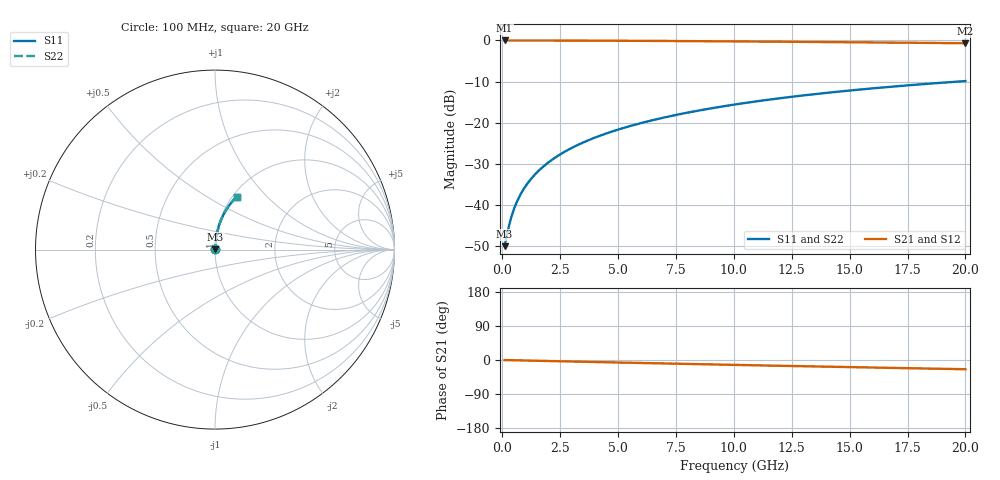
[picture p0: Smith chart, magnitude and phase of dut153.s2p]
! Touchstone file exported from HFSS 2024.1.0
!  File:  C:/UserFiles/LocalFiles/RDL_TSV_Batchsim/temp_RDL_bottom_153_1778697433.aedt
!  Generated:  02:40:05 AM May 14, 2026
!  Design:  RDL_bottom
!  Project:  temp_RDL_bottom_153_1778697433
!  Setup:  Setup1
!  Solution:  Sweep
! Variables:
!  dtsv = 10.80580581um
!  hbump = 3um
!  htsv = 83.15um
!  ldown = 240.71um
!  lrdl = 100um
!  p = 40
!  p1 = 59.46um
!  rhole = 1um
!  t = 450um
!  tdown = 2.56um
!  trdl = 3.915915916um
!  wdown = 13.66um
!  wrdl = 20um
# GHz S MA R 50.000000
! Terminal data exported
! Port[1] = RDL1_T1
! Port[2] = RDL1_T2
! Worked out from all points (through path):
!   200 points, 100 MHz to 20 GHz, reference 50 ohm
!   highest |S21| = -0.02 dB at 100 MHz (marker M1); lowest = -0.7 dB at 20 GHz (marker M2)
!   group delay of S21, straight-line fit = 3.38 ps
!   lowest |S11| = -50.0 dB at 100 MHz (marker M3), VSWR 1.01, Z = 50.3 + j0.17 ohm
!   |S11| at or under -10 dB: start of sweep to 19.72 GHz
!   |S22| runs from -50.0 to -9.9 dB; largest |S21 - S12| = 2.6e-15
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0.1  0.003156 32.4  0.9973 -0.1  0.9973 -0.1  0.003156 32.4
! Gamma 0 0 0 0
! Port Impedance 50 0 50 0
0.2  0.004323 51.4  0.9973 -0.3  0.9973 -0.3  0.004323 51.4
0.3  0.005751 61.5  0.9972 -0.4  0.9972 -0.4  0.005751 61.5
0.4  0.007277 67.3  0.9972 -0.6  0.9972 -0.6  0.007277 67.3
0.5  0.008842 71.1  0.9971 -0.7  0.9971 -0.7  0.008842 71.1
0.6  0.01043 73.6  0.997 -0.8  0.997 -0.8  0.01043 73.6
0.8  0.01361 76.9  0.9969 -1.1  0.9969 -1.1  0.01361 76.9
1.1  0.01843 79.7  0.9966 -1.5  0.9966 -1.5  0.01843 79.7
1.5  0.02488 81.7  0.9962 -2.0  0.9962 -2.0  0.02488 81.7
1.8  0.02974 82.5  0.9959 -2.4  0.9959 -2.4  0.02974 82.5
2.1  0.03462 83.0  0.9955 -2.8  0.9955 -2.8  0.03462 83.0
2.7  0.04442 83.6  0.9946 -3.6  0.9946 -3.6  0.04442 83.6
3.5  0.05755 83.8  0.9931 -4.7  0.9931 -4.7  0.05755 83.8
4.2  0.0691 83.6  0.9916 -5.6  0.9916 -5.6  0.0691 83.6
5  0.08235 83.2  0.9895 -6.6  0.9895 -6.6  0.08235 83.2
5.9  0.09732 82.6  0.987 -7.8  0.987 -7.8  0.09732 82.6
6.8  0.1123 81.9  0.9841 -8.9  0.9841 -8.9  0.1123 81.9
8.3  0.1373 80.5  0.9787 -10.8  0.9787 -10.8  0.1373 80.5
10.1  0.1671 78.6  0.9716 -13.0  0.9716 -13.0  0.1672 78.6
13.4  0.2206 74.9  0.9569 -16.9  0.9569 -16.9  0.2206 74.9
16.7  0.2718 71.2  0.9404 -20.7  0.9404 -20.7  0.2718 71.2
20  0.3202 67.5  0.9225 -24.3  0.9225 -24.3  0.3202 67.5
